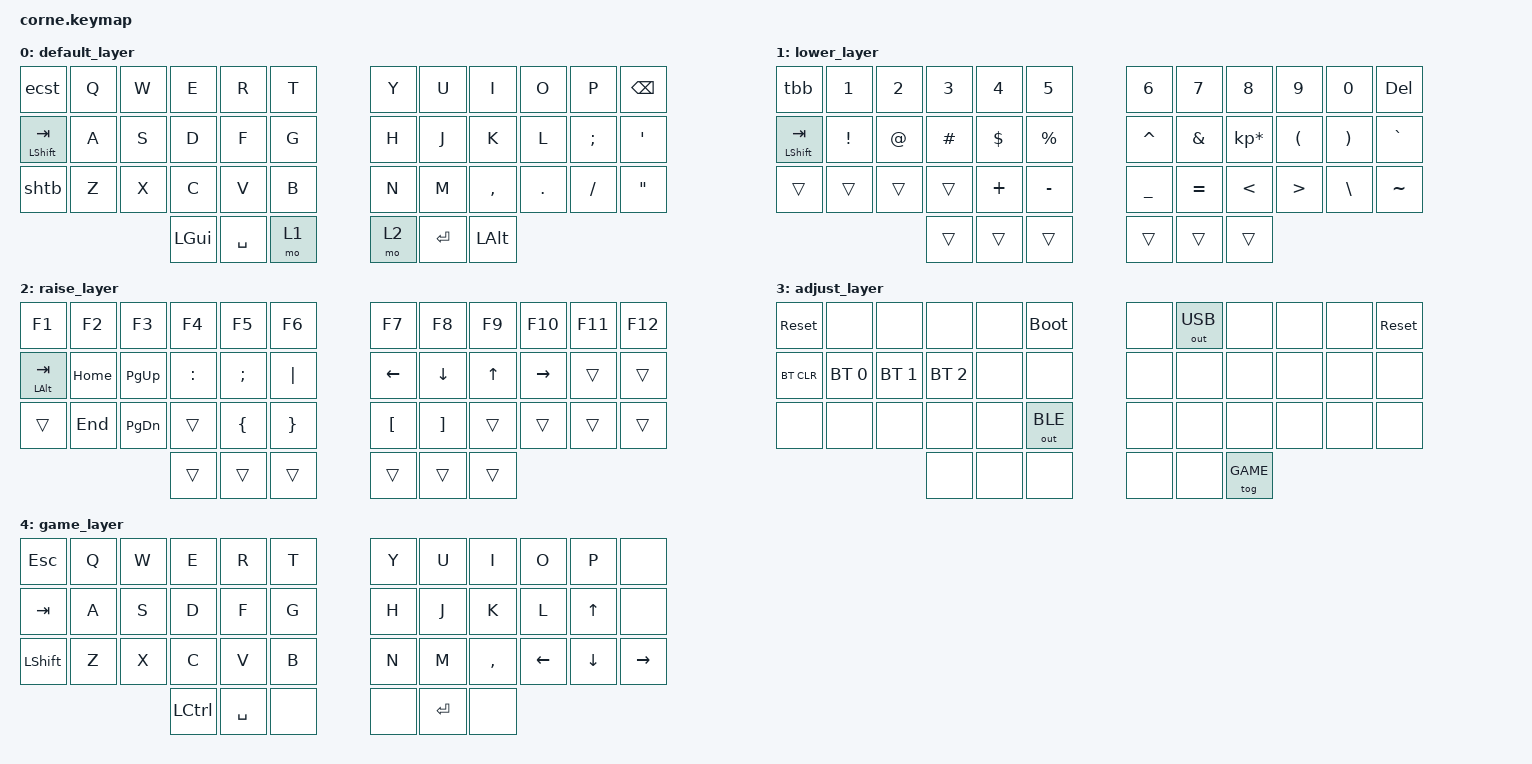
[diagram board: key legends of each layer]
#include <behaviors.dtsi>
#include <dt-bindings/zmk/keys.h>
#include <dt-bindings/zmk/bt.h>
#include <dt-bindings/zmk/outputs.h>

#define DEFAULT 0
#define LOWER   1
#define RAISE   2
#define ADJUST  3
#define GAME    4

/ {
    conditional_layers {
        compatible = "zmk,conditional-layers";
        adjust_layer {
            if-layers = <1 2>;
            then-layer = <3>;
        };
    };
};

/ {
    combos {
        compatible = "zmk,combos";
        combo_disable_game {
            timeout-ms = <50>;
            layers = <4>;
            key-positions = <39 41>;
            bindings = <&tog GAME>;
        };
    };
};

/ {
    macros {
        tbb: tab_back {
            label = "ctrl_shift_tab";
            compatible = "zmk,behavior-macro";
            #binding-cells = <0>;
            wait-ms = <40>;
            tap-ms = <40>;
            bindings
                = <&macro_press &kp LCTRL &kp LSHFT>
                , <&macro_tap &kp TAB>
                , <&macro_release &kp LCTRL &kp LSHFT>
            ;
        };
        csm: cmd_space {
            label = "cmd_space";
            compatible = "zmk,behavior-macro";
            #binding-cells = <0>;
            wait-ms = <40>;
            tap-ms = <40>;
            bindings
                = <&macro_press &kp LGUI>
                , <&macro_tap &kp SPACE>
                , <&macro_release &kp LGUI>
            ;
        };

    };
};

/ {
    behaviors {
        shtb: shift_tab {
            compatible = "zmk,behavior-mod-morph";
            label = "shift_tab";
            #binding-cells = <0>;
            bindings = <&kp LCTRL>, <&kp LSHFT>;
            mods = <(MOD_LGUI)>;
        };
    };
};

/ {
    behaviors {
        ecst: esc_macro {
            compatible = "zmk,behavior-tap-dance";
            label = "ESCAPE_MACRO_CMD_SPACE";
            #binding-cells = <0>;
            tapping-term-ms = <200>;
            bindings = <&kp ESC>, <&csm>;
        };
    };
};


/ {
        keymap {
                compatible = "zmk,keymap";

                default_layer {
// -----------------------------------------------------------------------------------------
// | ESC/CMD+SPC |  Q  |  W  |  E  |  R  |  T  |----|  Y  |  U   |  I  |  O  |  P  | BKSP |
// | SHFT/TAB    |  A  |  S  |  D  |  F  |  G  |----|  H  |  J   |  K  |  L  |  ;  | '    |
// | CTRL        |  Z  |  X  |  C  |  V  |  B  |----|  N  |  M   |  ,  |  .  |  /  | "    |
//                           | CMD | SPC | LWR |----| RSE | ENT  | ALT |
                        bindings = <
   &ecst         &kp Q &kp W &kp E &kp R &kp T   &kp Y &kp U  &kp I     &kp O   &kp P    &kp BSPC
   &mt LSHFT TAB &kp A &kp S &kp D &kp F &kp G   &kp H &kp J  &kp K     &kp L   &kp SEMI &kp SQT
   &shtb         &kp Z &kp X &kp C &kp V &kp B   &kp N &kp M  &kp COMMA &kp DOT &kp FSLH &kp DQT
                      &kp LGUI &kp SPACE &mo 1   &mo 2 &kp RET &kp LALT
                        >;
                };
                lower_layer {
// -----------------------------------------------------------------------------------------
// | CTRL+SHFT+TAB | 1    | 2    | 3    | 4 | 5 |----| 6 | 7 | 8 | 9 | 0 | DEL |
// | SHFT/TAB      | !    | @    | #    | $ | % |----| ^ | & | * | ( | ) | `   |
// | CTRL(t)       | Z(t) | X(t) | C(t) | + | - |----| _ | = | < | > | \ | ~   |
//                   | GUI(t) | SPC(t) | LWR(t) |----| RSE(t) | ENT(t) | ALT(t) |
                        bindings = <
   &tbb          &kp N1   &kp N2 &kp N3   &kp N4    &kp N5       &kp N6    &kp N7    &kp N8          &kp N9     &kp N0        &kp DELETE
   &mt LSHFT TAB &kp EXCL &kp AT &kp HASH &kp DLLR  &kp PRCNT    &kp CARET &kp AMPS  &kp KP_MULTIPLY &kp LPAR   &kp RPAR      &kp GRAVE
   &trans        &trans   &trans &trans   &kp PLUS  &kp MINUS    &kp UNDER &kp EQUAL &kp LT          &kp GT     &kp BACKSLASH &kp TILDE
                                 &trans   &trans    &trans       &trans    &trans    &trans
                        >;
                };

                raise_layer {
// -----------------------------------------------------------------------------------------
// | F1      | F2   | F3    | F4   | F5 | F6  |----| F7   | F8   | F9   | F10   | F11  | F12  |
// | ALT/TAB | HOME | PGUP  | :    | ;  | "|" |----| LEFT | DOWN | UP   | RIGHT | ;(t) | '(t) |
// | CTRL(t) | END  | PGDWN | C(t) | {  | }   |----| [    | ]    | ,(t) | .(t)  | /(t) | "(t) |
//                 | GUI(t) | SPC(t) | LWR(t) |----| RSE(t) | ENT(t) | ALT(t) |
                        bindings = <
   &kp F1       &kp F2   &kp F3        &kp F4    &kp F5        &kp F6      &kp F7   &kp F8   &kp F9 &kp F10   &kp F11 &kp F12
   &mt LALT TAB &kp HOME &kp PAGE_UP   &kp COLON &kp SEMICOLON &kp PIPE    &kp LEFT &kp DOWN &kp UP &kp RIGHT &trans  &trans
   &trans       &kp END  &kp PAGE_DOWN &trans    &kp LBRC      &kp RBRC    &kp LBKT &kp RBKT &trans &trans    &trans  &trans
                	                   &trans    &trans        &trans      &trans   &trans   &trans
                        >;
                };

                adjust_layer {
// -----------------------------------------------------------------------------------------
// | RST   |     |     |     |  |  BTLDR  |----|  | OUT_USB |      |  |  | RST |
// | BTCLR | BT1 | BT2 | BT3 |  |         |----|  |         |      |  |  |     |
// |       |     |     |     |  | OUT_BLE |----|  |         |      |  |  |     |
//                     |     |  |         |----|  |         | GAME |
                    bindings = <
    &sys_reset &none        &none         &none        &none &bootloader    &none &out OUT_USB &none &none &none &sys_reset
    &bt BT_CLR &bt BT_SEL 0 &bt BT_SEL 1  &bt BT_SEL 2 &none &none          &none &none        &none &none &none &none
    &none      &none        &none         &none        &none &out OUT_BLE   &none &none        &none &none &none &none
                                          &none        &none &none          &none &none        &tog GAME
                    >;
                };
                game_layer {
// -----------------------------------------------------------------------------------------
// | ESC   | Q | W | E | R | T |----| Y | U | I |   O  |  P   |       |
// | TAB   | A | S | D | F | G |----| H | J | K |   L  |  UP  |       |
// | SHIFT | Z | X | C | V | B |----| N | M | , | LEFT | DOWN | RIGHT |
//             | CTRL  | SPC | |----| | ENT | |
                    bindings = <
    &kp ESC    &kp Q &kp W &kp E &kp R &kp T   &kp Y &kp U &kp I     &kp O    &kp P    &none
    &kp TAB    &kp A &kp S &kp D &kp F &kp G   &kp H &kp J &kp K     &kp L    &kp UP   &none
    &kp LSHIFT &kp Z &kp X &kp C &kp V &kp B   &kp N &kp M &kp COMMA &kp LEFT &kp DOWN &kp RIGHT
                  &kp LCTRL  &kp SPACE &none   &none &kp RET &none
                    >;
                };
        };
};
